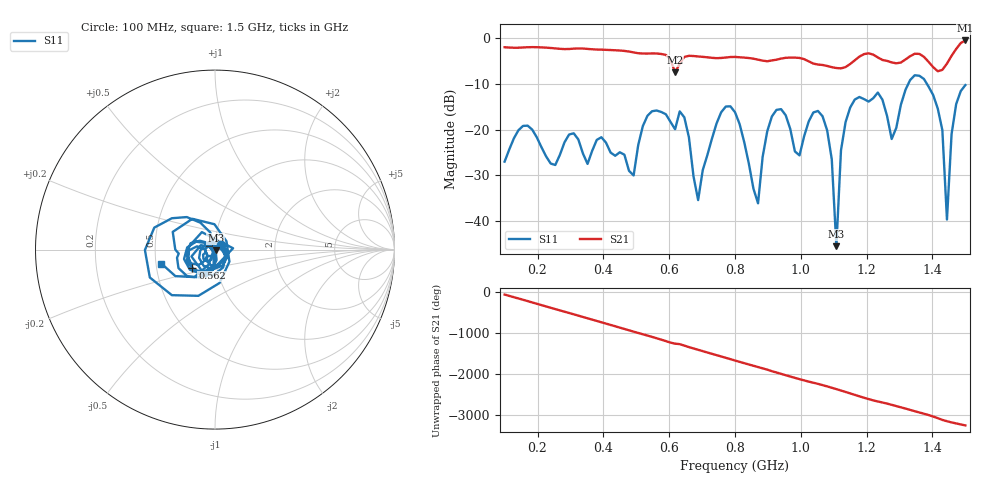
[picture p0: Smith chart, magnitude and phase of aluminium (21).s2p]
! NanoVNA-App
! Date: 2025-09-25 14:55:26
! Start: 100MHz Stop: 1,5GHz Points: 101
! S-Parameter data: F S11 S21 S12 S22
# Hz S RI R 50
!  Frequency  S11_Real  S11_Imag  S21_Real  S21_Imag  S12_Real  S12_Imag  S22_Real  S22_Imag
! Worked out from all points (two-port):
!   101 points, 100 MHz to 1.5 GHz, reference 50 ohm
!   highest |S21| = -0.43 dB at 1.5 GHz (marker M1); lowest = -7.4 dB at 618 MHz (marker M2)
!   |S21| within 3 dB of the highest: start of sweep to 578.1 MHz; 1.461 GHz to end of sweep (the widest 2 of 4)
!   lowest |S11| = -45.6 dB at 1.108 GHz (marker M3), VSWR 1.01, Z = 50.4 - j0.368 ohm
!   |S11| at or under -10 dB: start of sweep to 1.326 GHz; 1.383 GHz to end of sweep
!   S12 and S22 are empty: the file has one direction only
!   S11 on the Smith chart (normalised r, x): 100 MHz: 1.07, +0.06; 562 MHz: 0.76, -0.16; 1.5 GHz: 0.53, -0.09
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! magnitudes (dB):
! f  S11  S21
! 100 MHz  -27.0  -1.9
! 338 MHz  -25.2  -2.2
! 492 MHz  -30.0  -3.1
! 562 MHz  -15.8  -3.3
! 576 MHz  -16.1  -3.4
! 618 MHz  -19.9  -7.4
! 688 MHz  -35.4  -3.9
! 800 MHz  -16.2  -4.0
! 870 MHz  -36.2  -4.6
! 912 MHz  -17.1  -4.8
! 996 MHz  -25.6  -4.3
! 1.038 GHz  -16.2  -5.5
! 1.08 GHz  -20.2  -6.0
! 1.108 GHz  -45.6  -6.5
! 1.122 GHz  -24.6  -6.6
! 1.15 GHz  -15.1  -5.6
! 1.276 GHz  -22.0  -5.2
! 1.374 GHz  -8.9  -4.0
! 1.43 GHz  -20.1  -6.9
! 1.444 GHz  -39.7  -5.5
! 1.458 GHz  -21.0  -3.8
! 1.5 GHz  -10.2  -0.4
